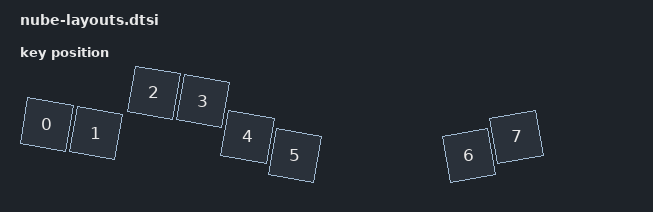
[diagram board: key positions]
// See https://zmk.dev/docs/development/hardware-integration/physical-layouts
// for how to configure this.

#include <physical_layouts.dtsi>

/ {
    default_layout: default_layout {
        compatible = "zmk,physical-layout";
        display-name = "Default Layout";
        transform = <&default_transform>;
        kscan = <&kscan>;

        // Edit this to define the positions and sizes of the keys, or remove it
        // if your keyboard will not support ZMK Studio.
        // https://zmk.dev/docs/development/hardware-integration/physical-layouts#optional-keys-property
        keys  //                     w   h    x    y     rot    rx    ry
            = <&key_physical_attrs 100 100    0  205    1000   800    70>
            , <&key_physical_attrs 100 100  100  205    1000   800    70>
            , <&key_physical_attrs 100 100  200  105    1000   800    70>
            , <&key_physical_attrs 100 100  300  105    1000   800    70>
            , <&key_physical_attrs 100 100  400  160    1000   800    70>
            , <&key_physical_attrs 100 100  500  180    1000   800    70>
            , <&key_physical_attrs 100 100  800  180 (-1000)   600    70>
            , <&key_physical_attrs 100 100  900  160 (-1000)   600    70>
            ;
    };
};
